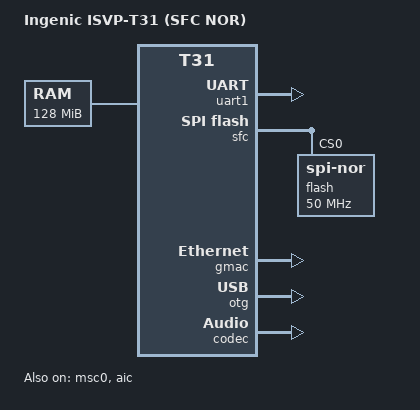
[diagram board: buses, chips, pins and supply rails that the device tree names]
// SPDX-License-Identifier: GPL-2.0+
/*
 * Ingenic ISVP-T31 shared board body (SFC-NOR, USB host).
 *
 * The per-SKU leaf .dts files (t31x-isvp.dts, t31n-isvp.dts,
 * t31l-isvp.dts, t31a-isvp.dts) include this and set the DDR node's
 * per-SKU compatible (ingenic,t31<sku>-ddr-innophy), which selects the
 * variant table in the DDR driver. The matching <leaf>-u-boot.dtsi
 * pulls in t31-isvp-uboot-common.dtsi (binman image + SPL bootph).
 */

#include <dt-bindings/gpio/gpio.h>
#include "t31.dtsi"

/ {
	compatible = "ingenic,isvp-t31", "ingenic,t31";
	model = "Ingenic ISVP-T31 (SFC NOR)";

	aliases {
		serial1 = &uart1;
	};

	chosen {
		stdout-path = "serial1:115200n8";
	};

	memory {
		device_type = "memory";
		/* Placeholder; the DDR driver reports the real per-SKU size. */
		reg = <0x0 0x08000000>;
	};
};

&uart1 {
	status = "okay";
};

&sfc {
	status = "okay";

	flash@0 {
		compatible = "jedec,spi-nor";
		reg = <0>;
		spi-max-frequency = <50000000>;
	};
};

&msc0 {
	status = "okay";
	bus-width = <4>;
	broken-cd;	/* no card-detect line wired on the ISVP board */
};

&gmac {
	status = "okay";
	/* IP101G PHY reset (ISVP reference default = GPIO PB28). The
	 * exact pin varies per board; override per device as needed. */
	ingenic,reset-gpio = <&gpb 28 GPIO_ACTIVE_LOW>;
};

&otg {
	status = "okay";
};

&aic {
	status = "okay";
};

&codec {
	status = "okay";
	/* Speaker-amp enable: SDK default PB31, active-high. Override
	 * here per board if the amp is on a different pin/polarity. */
	ingenic,spk-gpio = <&gpb 31 GPIO_ACTIVE_HIGH>;
};

&sound {
	status = "okay";
};
